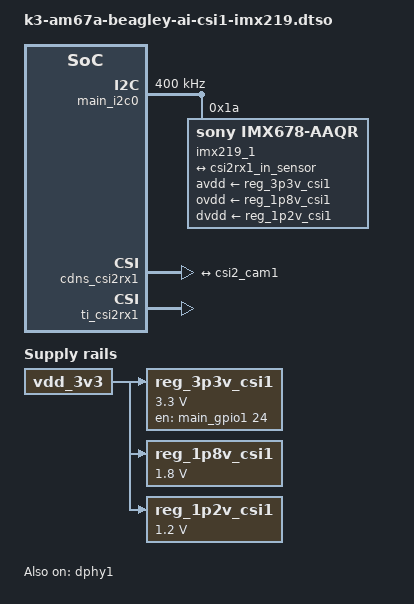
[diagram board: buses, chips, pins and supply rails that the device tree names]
// SPDX-License-Identifier: GPL-2.0-only OR MIT
/*
 * RPi Camera V2.1 on BeagleY AI CSI1 port
 *
 * Copyright (C) 2026 Ideas On Board Oy
 */

/dts-v1/;
/plugin/;

#include <dt-bindings/gpio/gpio.h>
#include "k3-pinctrl.h"

&{/} {
	clk_imx219_csi1: imx219-csi1-xclk {
		compatible = "fixed-clock";
		#clock-cells = <0>;
		clock-frequency = <24000000>;
	};

	reg_3p3v_csi1: regulator-3p3v-csi1 {
		compatible = "regulator-fixed";
		regulator-name = "3P3V_CSI1";
		regulator-min-microvolt = <3300000>;
		regulator-max-microvolt = <3300000>;
		vin-supply = <&vdd_3v3>;
		startup-delay-us = <200000>;
		off-on-delay-us = <30000>;
		enable-active-high;
		gpio = <&main_gpio1 24 GPIO_ACTIVE_HIGH>;

	};

	reg_1p8v_csi1: regulator-1p8v-csi1 {
		compatible = "regulator-fixed";
		regulator-name = "1P8V_CSI1";
		regulator-min-microvolt = <1800000>;
		regulator-max-microvolt = <1800000>;
		vin-supply = <&vdd_3v3>;
		regulator-always-on;
	};

	reg_1p2v_csi1: regulator-1p2v-csi1 {
		compatible = "regulator-fixed";
		regulator-name = "1P2V_CSI1";
		regulator-min-microvolt = <1200000>;
		regulator-max-microvolt = <1200000>;
		vin-supply = <&vdd_3v3>;
		regulator-always-on;
	};
};

&main_pmx0 {
	cam1_reset_pins_default: cam1-default-reset-pins {
		pinctrl-single,pins = <
			J722S_IOPAD(0x01d8, PIN_OUTPUT, 7) /* (D22) MCAN0_TX.GPIO1_24 */
		>;
	};
};

&dsi_csi_mux {
	idle-state = <1>;
};

&main_i2c0 {
	status = "okay";
	pinctrl-names = "default";
	pinctrl-0 = <&main_i2c0_pins_default>;
	clock-frequency = <400000>;

	#address-cells = <1>;
	#size-cells = <0>;

	imx219_1: sensor@1a {
		compatible = "sony,imx678-aaqr", "sony,imx678";
		reg = <0x1a>;

		orientation = <2>;
		rotation = <0>;

		clocks = <&clk_imx219_csi1>;

		avdd-supply = <&reg_3p3v_csi1>;
		ovdd-supply = <&reg_1p8v_csi1>;
		dvdd-supply = <&reg_1p2v_csi1>;

		pinctrl-names = "default";
		pinctrl-0 = <&cam1_reset_pins_default>;

		port {
			csi2_cam1: endpoint {
				remote-endpoint = <&csi2rx1_in_sensor>;
				link-frequencies = /bits/ 64 <720000000>;
				clock-lanes = <0>;
				data-lanes = <1 2 3 4>;
			};
		};
	};
};

&cdns_csi2rx1 {
	ports {
		#address-cells = <1>;
		#size-cells = <0>;

		csi1_port0: port@0 {
			reg = <0>;
			status = "okay";

			csi2rx1_in_sensor: endpoint {
				remote-endpoint = <&csi2_cam1>;
				bus-type = <4>; /* CSI2 DPHY. */
				clock-lanes = <0>;
				data-lanes = <1 2 3 4>;
			};
		};
	};
};

&ti_csi2rx1 {
	status = "okay";
};

&dphy1 {
	status = "okay";
};
